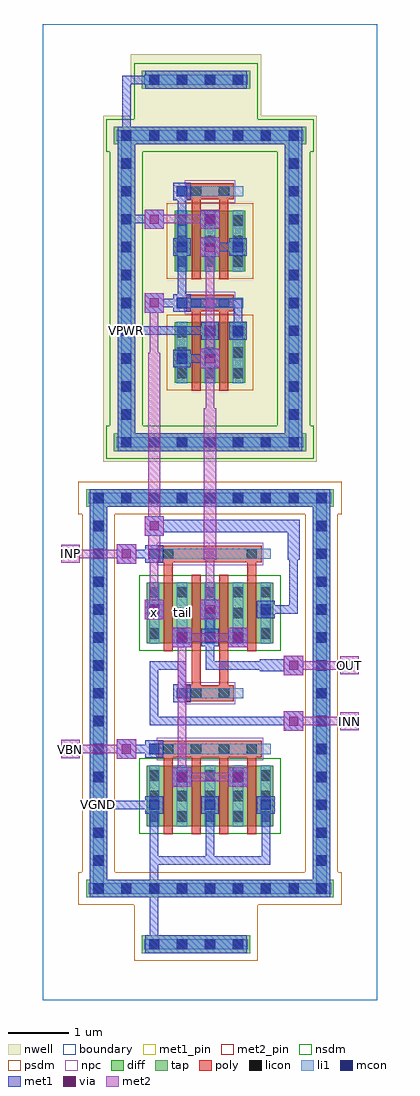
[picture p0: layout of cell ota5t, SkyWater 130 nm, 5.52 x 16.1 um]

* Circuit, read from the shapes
.subckt ota5t INN INP OUT VBN VGND VPWR tail x
XM1 tail VBN VGND VGND sky130_fd_pr__nfet_01v8 w=1 l=0.15 m=4
XM2 tail INP x VGND sky130_fd_pr__nfet_01v8 w=1 l=0.15 m=2
XM3 OUT INN tail VGND sky130_fd_pr__nfet_01v8 w=1 l=0.15 m=2
XM4 VPWR x OUT VPWR sky130_fd_pr__pfet_01v8 w=1 l=0.15 m=2
XM5 VPWR x x VPWR sky130_fd_pr__pfet_01v8 w=1 l=0.15 m=2
.ends

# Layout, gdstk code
import gdstk
lib = gdstk.Library(unit=1e-6, precision=1e-09)
def R(c, l, rs):  # rectangles x0, y0, x1, y1
    for r in rs: c.add(gdstk.rectangle(r[:2], r[2:], *l))
def A(c, l, x, y, w, h, nx, ny, dx, dy):  # array of equal rectangles
    R(c, l, [(x+i*dx, y+j*dy, x+i*dx+w, y+j*dy+h) for i in range(nx) for j in range(ny)])
nwell = (64, 20)
diff = (65, 20)
tap = (65, 44)
poly = (66, 20)
licon = (66, 44)
li1 = (67, 20)
mcon = (67, 44)
met1_pin = (68, 16)
met1 = (68, 20)
via = (68, 44)
met2_pin = (69, 16)
met2 = (69, 20)
nsdm = (93, 44)
psdm = (94, 20)
npc = (95, 20)
boundary = (235, 4)

ota5t = lib.new_cell('ota5t')
R(ota5t, nwell, [(0.995,8.875,4.525,14.585), (1.455,14.585,3.605,15.6)])
R(ota5t, diff, [(1.715,2.865,3.805,3.865), (1.715,5.885,3.805,6.885), (2.175,10.18,3.345,11.18), (2.175,12.02,3.345,13.02)])
R(ota5t, tap, [(1.635,0.775,3.425,1.065), (0.715,1.695,4.805,1.985), (0.775,1.695,1.065,8.425), (4.455,1.695,4.745,8.425), (0.715,8.135,4.805,8.425), (1.175,9.055,4.345,9.345), (1.235,9.055,1.525,14.405), (3.995,9.055,4.285,14.405), (1.175,14.115,4.345,14.405), (1.635,15.035,3.425,15.325)])
A(ota5t, poly, 1.995, 2.735, 0.15, 1.405, 4, 1, 0.46, 0)
R(ota5t, poly, [(1.905,4.005,3.615,4.275), (2.365,4.925,3.155,5.195), (2.455,5.06,2.605,7.015), (2.915,5.06,3.065,7.015), (1.995,5.755,2.145,7.36), (3.375,5.755,3.525,7.36), (1.905,7.225,3.615,7.495), (2.455,10.05,2.605,11.5), (2.915,10.05,3.065,11.5), (2.365,11.365,3.155,11.635), (2.455,11.89,2.605,13.34), (2.915,11.89,3.065,13.34), (2.365,13.205,3.155,13.475)])
A(ota5t, licon, 1.755, 0.835, 0.17, 0.17, 4, 2, 0.46, 14.26)
A(ota5t, licon, 0.835, 1.755, 0.17, 0.17, 9, 2, 0.46, 6.44)
A(ota5t, licon, 0.835, 2.215, 0.17, 0.17, 1, 13, 0, 0.46)
A(ota5t, licon, 4.515, 2.215, 0.17, 0.17, 1, 13, 0, 0.46)
A(ota5t, licon, 1.755, 2.94, 0.17, 0.17, 5, 3, 0.46, 0.34)
A(ota5t, licon, 1.985, 4.055, 0.17, 0.17, 4, 1, 0.46, 0)
A(ota5t, licon, 1.755, 5.96, 0.17, 0.17, 5, 3, 0.46, 0.34)
A(ota5t, licon, 1.295, 9.115, 0.17, 0.17, 7, 2, 0.46, 5.06)
A(ota5t, licon, 1.295, 9.575, 0.17, 0.17, 1, 10, 0, 0.46)
A(ota5t, licon, 4.055, 9.575, 0.17, 0.17, 1, 10, 0, 0.46)
A(ota5t, licon, 2.215, 10.255, 0.17, 0.17, 3, 3, 0.46, 0.34)
A(ota5t, licon, 2.215, 12.095, 0.17, 0.17, 3, 3, 0.46, 0.34)
R(ota5t, licon, [(2.445,4.975,2.615,5.145), (2.905,4.975,3.075,5.145), (1.985,7.275,2.155,7.445), (3.365,7.275,3.535,7.445), (2.445,11.415,2.615,11.585), (2.905,11.415,3.075,11.585), (2.445,13.255,2.615,13.425), (2.905,13.255,3.075,13.425)])
A(ota5t, li1, 1.755, 2.86, 0.17, 1.01, 5, 2, 0.46, 3.02)
A(ota5t, li1, 2.215, 10.175, 0.17, 1.01, 3, 2, 0.46, 1.84)
R(ota5t, li1, [(1.675,0.835,3.385,1.005), (0.755,1.755,4.765,1.925), (0.835,1.755,1.005,8.365), (4.515,1.755,4.685,8.365), (1.755,4.055,3.765,4.225), (2.215,4.975,3.305,5.145), (1.755,7.275,3.765,7.445), (0.755,8.195,4.765,8.365), (1.215,9.115,4.305,9.285), (1.295,9.115,1.465,14.345), (4.055,9.115,4.225,14.345), (2.215,11.415,3.305,11.585), (2.215,13.255,3.305,13.425), (1.215,14.175,4.305,14.345), (1.675,15.095,3.385,15.265)])
A(ota5t, mcon, 1.755, 0.835, 0.17, 0.17, 4, 2, 0.46, 14.26)
A(ota5t, mcon, 0.835, 1.755, 0.17, 0.17, 9, 2, 0.46, 6.44)
A(ota5t, mcon, 0.835, 3.135, 0.17, 0.17, 5, 1, 0.92, 0)
A(ota5t, mcon, 0.835, 3.595, 0.17, 0.17, 1, 10, 0, 0.46)
A(ota5t, mcon, 4.515, 3.595, 0.17, 0.17, 1, 10, 0, 0.46)
A(ota5t, mcon, 2.215, 5.895, 0.17, 0.17, 3, 1, 0.46, 0)
A(ota5t, mcon, 1.295, 9.115, 0.17, 0.17, 7, 2, 0.46, 5.06)
A(ota5t, mcon, 1.295, 9.575, 0.17, 0.17, 1, 6, 0, 0.46)
A(ota5t, mcon, 4.055, 9.575, 0.17, 0.17, 1, 6, 0, 0.46)
A(ota5t, mcon, 1.295, 12.335, 0.17, 0.17, 4, 1, 0.92, 0)
A(ota5t, mcon, 1.295, 12.795, 0.17, 0.17, 3, 1, 1.38, 0)
R(ota5t, mcon, [(0.835,2.215,1.005,2.385), (4.515,2.215,4.685,2.385), (0.835,2.675,1.005,2.845), (4.515,2.675,4.685,2.845), (2.215,3.595,2.385,3.765), (3.135,3.595,3.305,3.765), (1.755,4.055,1.925,4.225), (2.215,4.975,2.385,5.145), (1.755,6.355,1.925,6.525), (3.595,6.355,3.765,6.525), (1.755,7.275,1.925,7.445), (2.215,10.495,2.385,10.665), (2.675,10.955,2.845,11.125), (3.135,10.955,3.305,11.125), (2.215,11.415,2.385,11.585), (1.295,13.255,1.465,13.425), (2.215,13.255,2.385,13.425), (4.055,13.255,4.225,13.425), (1.295,13.715,1.465,13.885), (4.055,13.715,4.225,13.885)])
R(ota5t, met1_pin, [(0.85,3.15,0.99,3.29), (1.31,10.97,1.45,11.11)])
A(ota5t, met1, 1.695, 3.075, 0.29, 0.29, 3, 1, 0.92, 0)
A(ota5t, met1, 2.155, 5.835, 0.29, 0.29, 3, 1, 0.46, 0)
A(ota5t, met1, 2.155, 10.435, 0.29, 0.29, 1, 4, 0, 0.92)
R(ota5t, met1, [(1.695,0.775,3.365,1.065), (1.77,0.85,1.91,0.99), (1.77,0.85,1.91,3.29), (0.775,1.695,4.745,1.985), (0.775,1.695,1.065,8.425), (4.455,1.695,4.745,8.425), (1.77,2.23,2.83,2.37), (2.69,2.23,3.75,2.37), (2.69,2.23,2.83,3.29), (3.61,2.23,3.75,3.29), (0.85,3.15,1.91,3.29), (0.85,3.15,0.99,3.29), (0.85,3.15,0.99,8.35), (2.14,3.52,2.46,3.84), (3.06,3.52,3.38,3.84), (2.155,3.535,2.445,3.825), (3.075,3.535,3.365,3.825), (1.22,3.98,1.54,4.3), (1.695,3.995,1.985,4.285), (1.31,4.07,1.91,4.21), (3.98,4.44,4.3,4.76), (1.77,4.53,1.91,5.59), (1.77,4.53,4.21,4.67), (2.155,4.915,2.445,5.205), (2.23,4.99,2.37,5.59), (3.98,5.36,4.3,5.68), (3.58,5.42,4.24,5.62), (1.77,5.45,2.37,5.59), (2.69,5.45,2.83,6.05), (2.69,5.45,3.75,5.59), (2.14,5.82,2.46,6.14), (3.06,5.82,3.38,6.14), (2.69,5.91,2.83,6.51), (1.68,6.28,2,6.6), (2.6,6.28,2.92,6.6), (1.695,6.295,1.985,6.585), (3.535,6.295,3.825,6.585), (3.61,6.37,4.21,6.51), (4.07,6.37,4.21,7.43), (1.22,7.2,1.54,7.52), (1.695,7.215,1.985,7.505), (4.04,7.26,4.24,7.92), (1.31,7.29,1.91,7.43), (1.68,7.66,2,7.98), (1.74,7.72,4.24,7.92), (0.775,8.135,4.745,8.425), (0.85,8.21,0.99,8.35), (1.235,9.055,4.285,9.345), (1.235,9.055,1.525,14.405), (3.995,9.055,4.285,14.405), (2.6,10.42,2.92,10.74), (2.23,10.51,2.83,10.65), (2.615,10.895,2.905,11.185), (3.075,10.895,3.365,11.185), (1.31,10.97,1.45,11.11), (1.31,10.97,2.83,11.11), (1.31,10.97,1.45,14.33), (3.15,10.97,3.29,11.57), (1.68,11.34,2,11.66), (1.77,11.43,2.37,11.57), (2.23,11.43,3.29,11.57), (2.23,11.43,2.37,12.49), (2.6,12.26,2.92,12.58), (3.075,12.275,3.365,12.565), (2.23,12.35,2.37,13.41), (2.69,12.35,3.29,12.49), (1.68,12.72,2,13.04), (2.6,12.72,2.92,13.04), (2.615,12.735,2.905,13.025), (1.31,12.81,1.91,12.95), (1.235,14.115,4.285,14.405), (1.31,14.19,1.45,15.25), (1.31,14.19,1.45,14.33), (1.695,15.035,3.365,15.325), (1.31,15.11,1.91,15.25), (1.77,15.11,1.91,15.25)])
R(ota5t, via, [(2.225,3.605,2.375,3.755), (3.145,3.605,3.295,3.755), (1.305,4.065,1.455,4.215), (4.065,4.525,4.215,4.675), (4.065,5.445,4.215,5.595), (2.225,5.905,2.375,6.055), (3.145,5.905,3.295,6.055), (1.765,6.365,1.915,6.515), (2.685,6.365,2.835,6.515), (1.305,7.285,1.455,7.435), (1.765,7.745,1.915,7.895), (2.685,10.505,2.835,10.655), (1.765,11.425,1.915,11.575), (2.685,12.345,2.835,12.495), (1.765,12.805,1.915,12.955), (2.685,12.805,2.835,12.955)])
R(ota5t, met2_pin, [(0.31,3.99,0.61,4.29), (4.91,4.45,5.21,4.75), (4.91,5.37,5.21,5.67), (0.31,7.21,0.61,7.51)])
R(ota5t, met2, [(2.14,3.52,2.46,3.84), (3.06,3.52,3.38,3.84), (2.23,3.61,3.29,3.75), (2.23,3.61,2.37,6.05), (1.22,3.98,1.54,4.3), (0.31,3.99,0.61,4.29), (0.39,4.07,1.45,4.21), (0.39,4.07,0.53,4.21), (3.98,4.44,4.3,4.76), (4.91,4.45,5.21,4.75), (4.07,4.53,5.13,4.67), (4.99,4.53,5.13,4.67), (3.98,5.36,4.3,5.68), (4.91,5.37,5.21,5.67), (4.07,5.45,5.13,5.59), (4.99,5.45,5.13,5.59), (2.14,5.82,2.46,6.14), (3.06,5.82,3.38,6.14), (2.23,5.91,3.29,6.05), (1.68,6.28,2,6.6), (2.6,6.28,2.92,6.6), (1.77,6.37,1.91,7.43), (2.69,6.37,2.83,7.43), (1.22,7.2,1.54,7.52), (0.31,7.21,0.61,7.51), (1.74,7.26,1.94,10.68), (2.66,7.26,2.86,9.76), (0.39,7.29,1.45,7.43), (0.39,7.29,0.53,7.43), (1.68,7.66,2,7.98), (2.69,9.59,2.83,10.65), (2.6,10.42,2.92,10.74), (1.77,10.51,1.91,11.57), (2.69,10.51,2.83,12.49), (1.68,11.34,2,11.66), (2.6,12.26,2.92,12.58), (1.68,12.72,2,13.04), (2.6,12.72,2.92,13.04), (1.77,12.81,2.83,12.95)])
R(ota5t, nsdm, [(1.59,2.74,3.93,3.99), (1.59,5.76,3.93,7.01), (1.05,8.93,4.47,9.47), (1.11,9.47,1.65,13.99), (3.87,9.47,4.41,13.99), (1.05,13.99,4.47,14.53), (1.51,14.53,3.55,15.45)])
R(ota5t, psdm, [(1.51,0.65,3.55,1.57), (0.59,1.57,4.93,2.11), (0.65,2.11,1.19,8.01), (4.33,2.11,4.87,8.01), (0.59,8.01,4.93,8.55), (2.05,10.055,3.47,11.305), (2.05,11.895,3.47,13.145)])
R(ota5t, npc, [(1.885,3.955,3.635,4.325), (2.345,4.875,3.175,5.245), (1.885,7.175,3.635,7.545), (2.345,11.315,3.175,11.685), (2.345,13.155,3.175,13.525)])
R(ota5t, boundary, [(0,0,5.52,16.1)])
ota5t.add(gdstk.Label('x', (1.84,6.385), layer=67, texttype=5))
ota5t.add(gdstk.Label('tail', (2.3,6.385), layer=67, texttype=5))
ota5t.add(gdstk.Label('VPWR', (1.38,11.04), layer=68, texttype=5))
ota5t.add(gdstk.Label('VGND', (0.92,3.22), layer=68, texttype=5))
ota5t.add(gdstk.Label('INP', (0.46,7.36), layer=69, texttype=5))
ota5t.add(gdstk.Label('INN', (5.06,4.6), layer=69, texttype=5))
ota5t.add(gdstk.Label('VBN', (0.46,4.14), layer=69, texttype=5))
ota5t.add(gdstk.Label('OUT', (5.06,5.52), layer=69, texttype=5))
ota5t.add(gdstk.Label('VPWR', (1.38,11.04), layer=68, texttype=16))
ota5t.add(gdstk.Label('VGND', (0.92,3.22), layer=68, texttype=16))
ota5t.add(gdstk.Label('INP', (0.46,7.36), layer=69, texttype=16))
ota5t.add(gdstk.Label('INN', (5.06,4.6), layer=69, texttype=16))
ota5t.add(gdstk.Label('VBN', (0.46,4.14), layer=69, texttype=16))
ota5t.add(gdstk.Label('OUT', (5.06,5.52), layer=69, texttype=16))

lib.write_gds('ota5t.gds')
